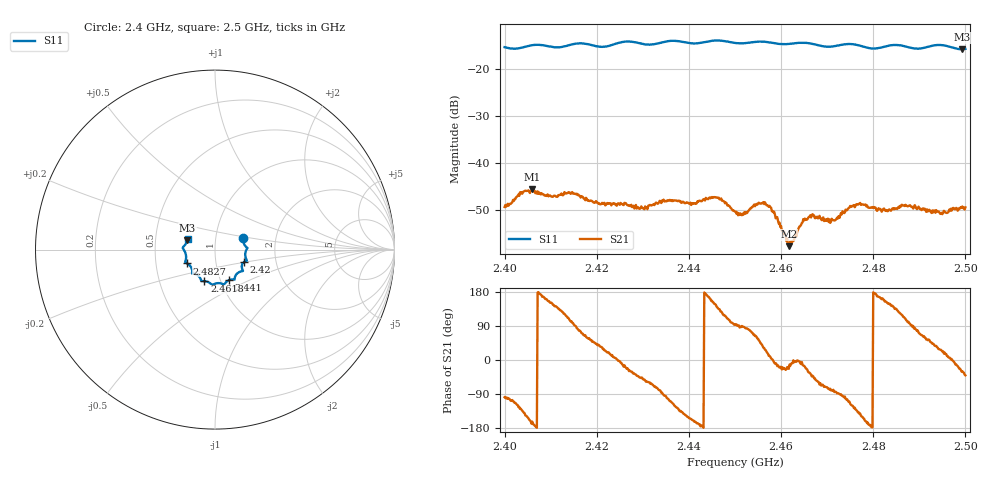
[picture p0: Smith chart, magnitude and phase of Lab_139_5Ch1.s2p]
# Hz S RI R 50
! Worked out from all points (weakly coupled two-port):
!   601 points, 2.4 GHz to 2.5 GHz, reference 50 ohm
!   highest |S21| = -45.70 dB at 2.406 GHz (marker M1); lowest = -57.8 dB at 2.4617 GHz (marker M2)
!   lowest |S11| = -15.8 dB at 2.4993 GHz (marker M3), VSWR 1.39, Z = 36.5 + j3.85 ohm
!   |S11| at or under -10 dB: start of sweep to end of sweep
!   S12 and S22 are empty: the file has one direction only
!   S11 on the Smith chart (normalised r, x): 2.4 GHz: 1.36, +0.18; 2.42 GHz: 1.36, -0.20; 2.441 GHz: 1.10, -0.39; 2.4618 GHz: 0.84, -0.30; 2.4827 GHz: 0.72, -0.11; 2.5 GHz: 0.73, +0.09
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2.4e9  0.1585 0.0631  -0.000487 -0.00333  0 0  0 0
2.406e9  0.179 0.0106  -0.00495 -0.00155  0 0  0 0
2.416667e9  0.1773 -0.061  0.00141 0.00416  0 0  0 0
2.42e9  0.1597 -0.0704  0.00279 0.00253  0 0  0 0
2.429833e9  0.138 -0.1235  0.00229 -0.0024  0 0  0 0
2.433333e9  0.1116 -0.1508  0.000798 -0.00359  0 0  0 0
2.441e9  0.0786 -0.1698  -0.00347 -0.00127  0 0  0 0
2.446e9  0.0498 -0.1949  -0.0033 0.00266  0 0  0 0
2.45e9  0.0286 -0.1875  -0.000244 0.003  0 0  0 0
2.456667e9  -0.0187 -0.1938  0.00328 0.00159  0 0  0 0
2.458667e9  -0.0299 -0.1853  0.00276 -0.000451  0 0  0 0
2.461667e9  -0.0575 -0.1757  0.00118 -0.000505  0 0  0 0
2.461833e9  -0.0592 -0.1756  0.00131 -0.000277  0 0  0 0
2.464667e9  -0.0758 -0.1746  0.00226 -0.000517  0 0  0 0
2.466667e9  -0.0788 -0.1682  0.00201 -0.00189  0 0  0 0
2.471167e9  -0.1059 -0.1377  0.000375 -0.00241  0 0  0 0
2.476833e9  -0.1269 -0.1255  -0.00269 -0.00242  0 0  0 0
2.482667e9  -0.1561 -0.0771  -0.00277 0.00132  0 0  0 0
2.483333e9  -0.1605 -0.0749  -0.00271 0.00159  0 0  0 0
2.486667e9  -0.164 -0.0623  -0.00136 0.0032  0 0  0 0
2.499333e9  -0.154 0.0513  0.00296 -0.00169  0 0  0 0
2.5e9  -0.1523 0.0607  0.00254 -0.00217  0 0  0 0
